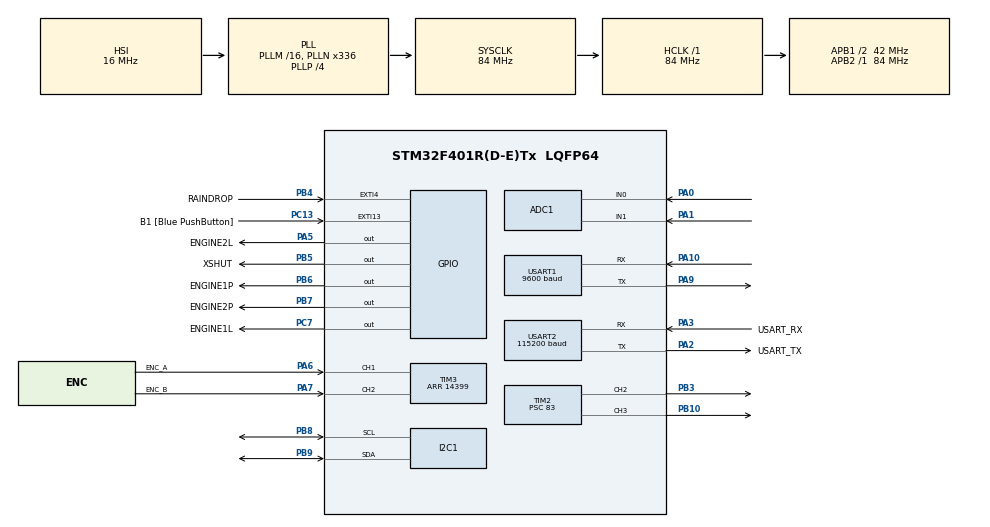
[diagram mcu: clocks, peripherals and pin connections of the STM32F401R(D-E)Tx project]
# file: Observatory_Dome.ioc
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ADC1.Channel-4\#ChannelRegularConversion=ADC_CHANNEL_0
ADC1.Channel-5\#ChannelRegularConversion=ADC_CHANNEL_1
ADC1.ContinuousConvMode=ENABLE
ADC1.DMAContinuousRequests=ENABLE
ADC1.EOCSelection=ADC_EOC_SEQ_CONV
ADC1.InjNumberOfConversion=0
ADC1.NbrOfConversion=2
ADC1.NbrOfConversionFlag=1
ADC1.Rank-4\#ChannelRegularConversion=1
ADC1.Rank-5\#ChannelRegularConversion=2
ADC1.SamplingTime-4\#ChannelRegularConversion=ADC_SAMPLETIME_84CYCLES
ADC1.SamplingTime-5\#ChannelRegularConversion=ADC_SAMPLETIME_84CYCLES
ADC1.master=1
Dma.ADC1.0.Direction=DMA_PERIPH_TO_MEMORY
Dma.ADC1.0.FIFOMode=DMA_FIFOMODE_DISABLE
Dma.ADC1.0.Instance=DMA2_Stream0
Dma.ADC1.0.MemDataAlignment=DMA_MDATAALIGN_HALFWORD
Dma.ADC1.0.MemInc=DMA_MINC_ENABLE
Dma.ADC1.0.Mode=DMA_CIRCULAR
Dma.ADC1.0.PeriphDataAlignment=DMA_PDATAALIGN_HALFWORD
Dma.ADC1.0.PeriphInc=DMA_PINC_DISABLE
Dma.ADC1.0.Priority=DMA_PRIORITY_MEDIUM
Dma.I2C1_RX.3.Direction=DMA_PERIPH_TO_MEMORY
Dma.I2C1_RX.3.FIFOMode=DMA_FIFOMODE_DISABLE
Dma.I2C1_RX.3.Instance=DMA1_Stream0
Dma.I2C1_RX.3.MemDataAlignment=DMA_MDATAALIGN_BYTE
Dma.I2C1_RX.3.MemInc=DMA_MINC_ENABLE
Dma.I2C1_RX.3.Mode=DMA_NORMAL
Dma.I2C1_RX.3.PeriphDataAlignment=DMA_PDATAALIGN_BYTE
Dma.I2C1_RX.3.PeriphInc=DMA_PINC_DISABLE
Dma.I2C1_RX.3.Priority=DMA_PRIORITY_LOW
Dma.I2C1_TX.2.Direction=DMA_MEMORY_TO_PERIPH
Dma.I2C1_TX.2.FIFOMode=DMA_FIFOMODE_DISABLE
Dma.I2C1_TX.2.Instance=DMA1_Stream7
Dma.I2C1_TX.2.MemDataAlignment=DMA_MDATAALIGN_BYTE
Dma.I2C1_TX.2.MemInc=DMA_MINC_ENABLE
Dma.I2C1_TX.2.Mode=DMA_NORMAL
Dma.I2C1_TX.2.PeriphDataAlignment=DMA_PDATAALIGN_BYTE
Dma.I2C1_TX.2.PeriphInc=DMA_PINC_DISABLE
Dma.I2C1_TX.2.Priority=DMA_PRIORITY_LOW
Dma.Request0=ADC1
Dma.Request1=USART1_TX
Dma.Request2=I2C1_TX
Dma.Request3=I2C1_RX
Dma.Request4=USART2_TX
Dma.USART1_TX.1.Direction=DMA_MEMORY_TO_PERIPH
Dma.USART1_TX.1.FIFOMode=DMA_FIFOMODE_DISABLE
Dma.USART1_TX.1.Instance=DMA2_Stream7
Dma.USART1_TX.1.MemDataAlignment=DMA_MDATAALIGN_BYTE
Dma.USART1_TX.1.MemInc=DMA_MINC_ENABLE
Dma.USART1_TX.1.Mode=DMA_NORMAL
Dma.USART1_TX.1.PeriphDataAlignment=DMA_PDATAALIGN_BYTE
Dma.USART1_TX.1.PeriphInc=DMA_PINC_DISABLE
Dma.USART1_TX.1.Priority=DMA_PRIORITY_HIGH
Dma.USART2_TX.4.Direction=DMA_MEMORY_TO_PERIPH
Dma.USART2_TX.4.FIFOMode=DMA_FIFOMODE_DISABLE
Dma.USART2_TX.4.Instance=DMA1_Stream6
Dma.USART2_TX.4.MemDataAlignment=DMA_MDATAALIGN_BYTE
Dma.USART2_TX.4.MemInc=DMA_MINC_ENABLE
Dma.USART2_TX.4.Mode=DMA_NORMAL
Dma.USART2_TX.4.PeriphDataAlignment=DMA_PDATAALIGN_BYTE
Dma.USART2_TX.4.PeriphInc=DMA_PINC_DISABLE
Dma.USART2_TX.4.Priority=DMA_PRIORITY_MEDIUM
I2C1.I2C_Mode=I2C_Fast
Mcu.Family=STM32F4
Mcu.Name=STM32F401R(D-E)Tx
Mcu.Package=LQFP64
NVIC.DMA1_Stream0_IRQn=true\:0\:0\:false\:false\:true\:false\:true\:true
NVIC.DMA1_Stream6_IRQn=true\:0\:0\:false\:false\:true\:false\:true\:true
NVIC.DMA1_Stream7_IRQn=true\:0\:0\:false\:false\:true\:false\:true\:true
NVIC.DMA2_Stream0_IRQn=true\:0\:0\:false\:false\:true\:false\:true\:true
NVIC.DMA2_Stream7_IRQn=true\:0\:0\:false\:false\:true\:false\:true\:true
NVIC.EXTI15_10_IRQn=true\:0\:0\:false\:false\:true\:true\:true\:true
NVIC.EXTI4_IRQn=true\:0\:0\:false\:false\:true\:true\:true\:true
NVIC.PriorityGroup=NVIC_PRIORITYGROUP_0
NVIC.USART1_IRQn=true\:0\:0\:false\:false\:true\:true\:true\:true
NVIC.USART2_IRQn=true\:0\:0\:false\:false\:true\:true\:true\:true
PA0-WKUP.Signal=ADCx_IN0
PA1.Signal=ADCx_IN1
PA10.Mode=Asynchronous
PA10.Signal=USART1_RX
PA13.GPIO_Label=TMS
PA13.Mode=Serial_Wire
PA13.Signal=SYS_JTMS-SWDIO
PA14.GPIO_Label=TCK
PA14.Mode=Serial_Wire
PA14.Signal=SYS_JTCK-SWCLK
PA2.GPIO_Label=USART_TX
PA2.GPIO_Mode=GPIO_MODE_AF_PP
PA2.GPIO_PuPd=GPIO_NOPULL
PA2.GPIO_Speed=GPIO_SPEED_FREQ_LOW
PA2.Mode=Asynchronous
PA2.Signal=USART2_TX
PA3.GPIO_Label=USART_RX
PA3.GPIO_Mode=GPIO_MODE_AF_PP
PA3.GPIO_PuPd=GPIO_NOPULL
PA3.GPIO_Speed=GPIO_SPEED_FREQ_LOW
PA3.Mode=Asynchronous
PA3.Signal=USART2_RX
PA5.GPIO_Label=ENGINE2L
PA5.Signal=GPIO_Output
PA6.GPIO_Label=ENC_A
PA6.Signal=S_TIM3_CH1
PA7.GPIO_Label=ENC_B
PA7.Signal=S_TIM3_CH2
PA9.Mode=Asynchronous
PA9.Signal=USART1_TX
PB10.Signal=S_TIM2_CH3
PB3.Signal=S_TIM2_CH2
PB4.GPIO_Label=RAINDROP
PB4.GPIO_ModeDefaultEXTI=GPIO_MODE_IT_FALLING
PB4.Signal=GPXTI4
PB5.GPIO_Label=XSHUT
PB5.Signal=GPIO_Output
PB6.GPIO_Label=ENGINE1P
PB6.Signal=GPIO_Output
PB7.GPIO_Label=ENGINE2P
PB7.Signal=GPIO_Output
PB8.Mode=I2C
PB8.Signal=I2C1_SCL
PB9.Mode=I2C
PB9.Signal=I2C1_SDA
PC13-ANTI_TAMP.GPIO_Label=B1 [Blue PushButton]
PC13-ANTI_TAMP.GPIO_ModeDefaultEXTI=GPIO_MODE_IT_FALLING
PC13-ANTI_TAMP.GPIO_PuPd=GPIO_NOPULL
PC13-ANTI_TAMP.Signal=GPXTI13
PC14-OSC32_IN.Mode=LSE-External-Oscillator
PC14-OSC32_IN.Signal=RCC_OSC32_IN
PC15-OSC32_OUT.Mode=LSE-External-Oscillator
PC15-OSC32_OUT.Signal=RCC_OSC32_OUT
PC7.GPIO_Label=ENGINE1L
PC7.Signal=GPIO_Output
PH0\ -\ OSC_IN.Mode=HSE-External-Clock-Source
PH0\ -\ OSC_IN.Signal=RCC_OSC_IN
PH1\ -\ OSC_OUT.Mode=HSE-External-Clock-Source
PH1\ -\ OSC_OUT.Signal=RCC_OSC_OUT
ProjectManager.HeapSize=0x200
ProjectManager.StackSize=0x400
ProjectManager.TargetToolchain=STM32CubeIDE
RCC.48MHZClocksFreq_Value=48000000
RCC.AHBFreq_Value=84000000
RCC.APB1CLKDivider=RCC_HCLK_DIV2
RCC.APB1Freq_Value=42000000
RCC.APB1TimFreq_Value=84000000
RCC.APB2Freq_Value=84000000
RCC.APB2TimFreq_Value=84000000
RCC.CortexFreq_Value=84000000
RCC.HCLKFreq_Value=84000000
RCC.HSE_VALUE=8000000
RCC.HSI_VALUE=16000000
RCC.PLLN=336
RCC.PLLP=RCC_PLLP_DIV4
RCC.PLLQ=7
RCC.SYSCLKFreq_VALUE=84000000
RCC.SYSCLKSource=RCC_SYSCLKSOURCE_PLLCLK
RCC.VCOOutputFreq_Value=336000000
SH.ADCx_IN0.0=ADC1_IN0,IN0
SH.ADCx_IN1.0=ADC1_IN1,IN1
SH.S_TIM2_CH2.0=TIM2_CH2,PWM Generation2 CH2
SH.S_TIM2_CH3.0=TIM2_CH3,PWM Generation3 CH3
SH.S_TIM3_CH1.0=TIM3_CH1,Encoder_Interface
SH.S_TIM3_CH2.0=TIM3_CH2,Encoder_Interface
TIM2.Channel-PWM\ Generation2\ CH2=TIM_CHANNEL_2
TIM2.Channel-PWM\ Generation3\ CH3=TIM_CHANNEL_3
TIM2.Period=99
TIM2.Prescaler=83
TIM2.Pulse-PWM\ Generation2\ CH2=42
TIM2.Pulse-PWM\ Generation3\ CH3=42
TIM3.EncoderMode=TIM_ENCODERMODE_TI12
TIM3.IC1Filter=15
TIM3.IC2Filter=15
TIM3.Period=14399
USART1.BaudRate=9600
USART1.VirtualMode=VM_ASYNC
USART2.BaudRate=115200
USART2.VirtualMode=VM_ASYNC
board=NUCLEO-F401RE

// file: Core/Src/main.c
/* USER CODE BEGIN Header */
/**
  ******************************************************************************
  * @file           : main.c
  * @brief          : Main program body
  ******************************************************************************
  * @attention
  *
  * Copyright (c) 2026 STMicroelectronics.
  * All rights reserved.
  *
  * This software is licensed under terms that can be found in the LICENSE file
  * in the root directory of this software component.
  * If no LICENSE file comes with this software, it is provided AS-IS.
  *
  ******************************************************************************
  */
/* USER CODE END Header */
#include "main.h"
#include "adc.h"
#include "dma.h"
#include "i2c.h"
#include "tim.h"
#include "usart.h"
#include "gpio.h"

/* USER CODE BEGIN Includes */
#include <stdlib.h>
#include <stdio.h>
#include <nextion.h>
#include <encoder.h>
#include <vl53l0x_api.h>
#include <vl53l0x_platform.h>
/* USER CODE END Includes */

/* USER CODE BEGIN PTD */
typedef enum {
	TOF_IDLE,
	TOF_TRIGGER_MEASURE,
	TOF_WAIT_FOR_DATA,
	TOF_GET_RESULT
} ToF_State_t;

typedef enum {
	DIR_NONE = 0,
	DIR_OPEN,
	DIR_CLOSE,
	DIR_LEFT,
	DIR_RIGHT
} MotorState;

typedef union {
	float float_val;
	uint32_t uint32_t_val;
	uint8_t bytes[4];
} ByteConverter;
/* USER CODE END PTD */

/* USER CODE BEGIN PD */
#define ASCOM_Buffer 20

#define RAIN_STATE_NONE          0
#define RAIN_STATE_GO_HOME       1
#define RAIN_STATE_STOP_HOME     2
#define RAIN_STATE_CLOSE_SHUTTER 3
#define RAIN_STATE_STOP_SHUTTER  4
#define RAIN_STATE_RESUME_DRIVE  5
#define RAIN_STATE_FINISHED      6
/* USER CODE END PD */

/* USER CODE BEGIN PV */

// user test values

uint8_t label_is_home = 0; // 0 - Preset, 1 - Angle.
uint8_t i,j,k,l = 0; // Zabezpieczenie ponownego załączenia obrotów
uint8_t i2c_transmit_flag = 0;
uint8_t angle_conversion_flag = 0;
uint8_t ride_left_flag = 0;
uint8_t ride_right_flag = 0;
uint8_t ride_open_flag = 0;
uint8_t ride_close_flag = 0;
volatile uint8_t abort_slew_flag = 0;
volatile uint8_t nextion_rain_on = 0;
volatile uint8_t nextion_rain_off = 0;
volatile uint8_t is_home = 0;
volatile uint8_t is_calibrated = 0; // 0 - wymaga bazowania, 1 - gotowy do pracy

uint8_t pwm_run_1 = 0;
uint8_t pwm_run_2 = 0;
uint8_t soft_start_automatic = 0;
//uint8_t soft_start = 0;
// Zamiast: uint8_t soft_start = 0;
uint8_t soft_start_rot = 0;     // Miękki start dla Silnika 2 (Obrót)
uint8_t soft_start_shutter = 0; // Miękki start dla Silnika 1 (Szczelina)
uint8_t soft_stop = 0;

uint8_t amp_waveform = 0;
uint8_t amp_waveform_1 = 0;

// Sekcja komunikacji dwustronnej ASCOM - PC

uint8_t ASCOM_rx_buffer[8]; // Bufor na rozkaz z PC + suma kontrolna (8 bajtów)
uint8_t ASCOM_tx_buffer[13]; // Bufor na odpowiedź ze statusem + suma kontrolna (12 bajtów)

uint8_t current_shutter_state = 1; // // 0=Open, 1=Closed, 2=Opening, 3=Closing, 4=Error
uint8_t is_slewing = 0;           // Flaga ruchu obrotowego kopuły
uint8_t rain_alert = 0;           // Flaga alarmu pogodowego

volatile uint8_t ASCOM_frame_ready = 0;

uint8_t Rx_Data[4];
uint8_t ASCOM_Data[ASCOM_Buffer];
uint8_t ASCOM_Index = 0;
uint8_t ASCOM_Byte = 0;
uint16_t UART_value = 0;

volatile uint8_t open = 0;
volatile uint8_t close = 0;
volatile uint8_t left = 0;
volatile uint8_t right = 0;

volatile uint8_t raindrop_signal = 0;
volatile uint8_t waveform_enable = 0;
volatile uint8_t page_auto = 0;
volatile uint8_t page_manual = 0;

uint32_t tick_start_1 = 0, tick_stop_1 = 0;
uint32_t ToF_Tick = 0;
uint32_t ToF_delay_time = 0;
uint32_t wave_delay_time_0 = 0;
uint32_t wave_delay_time_1 = 0;
uint32_t preset_delay_time = 0;
uint16_t counter = 0;

uint16_t pwm_signal_1 = 0;
uint16_t pwm_signal_2 = 0;
volatile uint8_t pwm_value_1 = 0;
volatile uint8_t pwm_value_2 = 0;

uint16_t current_engine_value[2];

float target_angle = 0.0f;
float string_to_angle = 0;
float filtered_value_0 = 2160;
float filtered_value_1 = 2160;
float angle_to_display = 0;
float preset_to_display = 0;
float distance_to_display = 0;
float amps_0 = 0;
float amps_1 = 0;

int16_t half = 180.0;
int16_t amps_to_display_0 = 0;
int16_t amps_to_display_1 = 0;

uint16_t tof_distance_mm = 0;

uint8_t comparision_mode = 1;
volatile uint8_t print_home = 0;
/* USER CODE END PV */

void SystemClock_Config(void);
/* USER CODE BEGIN PFP */
uint16_t encoder_cnt_get();
float encoder_angle_get(uint16_t positioning);
float get_current_offset(uint16_t dma_adc_index, float offset);
float get_amps(float filter_value);
float encoder_ASCOM_preset(float angle_position);
void encoder_display_angle(uint16_t position);
void Nextion_SendText(char *ID, char *string);
void Nextion_SendString(char *ID, float info);
void Nextion_SendString_Rain(char *text_ID, char *info);
void Nextion_Waveform(uint8_t wave1, uint8_t wave2);
void Nextion_SendString_Current(int16_t current1, int16_t current2);
void soft_start_func(volatile uint8_t *pwm, uint8_t channel, uint32_t *tick);
void soft_stop_func(volatile uint8_t *pwm, volatile uint8_t *pwm2, uint32_t *tick);
void soft_stop_func_alternate(volatile uint8_t *pwm, uint8_t channel, uint32_t *tick);
void ride_left(void);
void ride_right(void);
void ride_open(void);
void ride_close(void);
void dont_ride(void);
void dont_ride_shutter(void);
void dont_ride_rot(void);
void i2c_check(void);
/* USER CODE END PFP */

/* USER CODE BEGIN 0 */
MotorState CurrentDir = DIR_NONE;

VL53L0X_RangingMeasurementData_t RangingData;
VL53L0X_Dev_t mySensor;
VL53L0X_DEV pDev = &mySensor;

void tof_sensor_init(VL53L0X_DEV Dev)
{
	  uint32_t refSpadCount;
	  uint8_t isApertureSpads;
	  uint8_t VhvSettings;
	  uint8_t PhaseCal;

	  VL53L0X_Error status = VL53L0X_DataInit(Dev);

	  if(status == VL53L0X_ERROR_NONE) {
		 status = VL53L0X_StaticInit(Dev);
	  }
	  if(status == VL53L0X_ERROR_NONE) {
		 status = VL53L0X_PerformRefSpadManagement(Dev, &refSpadCount, &isApertureSpads);
	  }
	  if(status == VL53L0X_ERROR_NONE) {
		 status = VL53L0X_PerformRefCalibration(Dev, &VhvSettings, &PhaseCal);
	  }
	  if(status == VL53L0X_ERROR_NONE) {
		 status = VL53L0X_SetDeviceMode(Dev, VL53L0X_DEVICEMODE_SINGLE_RANGING);
	  }
	  if(status == VL53L0X_ERROR_NONE) {
		 status = VL53L0X_SetMeasurementTimingBudgetMicroSeconds(Dev, 33000);
	  }
	  if(status == VL53L0X_ERROR_NONE) {
		 status = VL53L0X_SetLimitCheckEnable(Dev, VL53L0X_CHECKENABLE_SIGMA_FINAL_RANGE, 1);
	  }
	  if(status == VL53L0X_ERROR_NONE) {
		 status = VL53L0X_SetLimitCheckEnable(Dev, VL53L0X_CHECKENABLE_SIGNAL_RATE_FINAL_RANGE, 1);
	  }
	  if(status == VL53L0X_ERROR_NONE) {
		  status = VL53L0X_SetLimitCheckValue(Dev, VL53L0X_CHECKENABLE_SIGNAL_RATE_FINAL_RANGE,(FixPoint1616_t)(0.1*65536));
	  }
	  if (status == VL53L0X_ERROR_NONE) {
		  status = VL53L0X_SetLimitCheckValue(Dev, VL53L0X_CHECKENABLE_SIGMA_FINAL_RANGE, (FixPoint1616_t)(60*65536));
	  }
	  if (status == VL53L0X_ERROR_NONE) {
		  status = VL53L0X_SetVcselPulsePeriod(Dev, VL53L0X_VCSEL_PERIOD_PRE_RANGE, 18);
	  }
	  if (status == VL53L0X_ERROR_NONE) {
		  status = VL53L0X_SetVcselPulsePeriod(Dev, VL53L0X_VCSEL_PERIOD_FINAL_RANGE, 14);
	  }
}

uint16_t tof_data_request(void)
{
	uint16_t distance;
	VL53L0X_Error status = VL53L0X_PerformSingleRangingMeasurement(pDev, &RangingData);

	if(status == VL53L0X_ERROR_NONE){
		distance = RangingData.RangeMilliMeter;
	}

	return distance;
}

uint16_t tof_data_request_nonblocking_mode(void)
{
	static ToF_State_t state = TOF_TRIGGER_MEASURE;
	static uint32_t lastTick = 0;
	static uint16_t distance = 0;

	if(HAL_GetTick() - lastTick >= 25) {
		switch(state) {
			case TOF_TRIGGER_MEASURE:
				if(VL53L0X_PerformSingleMeasurement(pDev) == VL53L0X_ERROR_NONE) {
					state = TOF_WAIT_FOR_DATA;
					//lastTick = HAL_GetTick();
				}
			break;

			case TOF_WAIT_FOR_DATA:
					uint8_t DataReady = 0;

					VL53L0X_GetMeasurementDataReady(pDev, &DataReady);

					if(DataReady){
						state = TOF_GET_RESULT;
					}
			break;

			case TOF_GET_RESULT:

				if(VL53L0X_GetRangingMeasurementData(pDev, &RangingData) == VL53L0X_ERROR_NONE) {
					distance = RangingData.RangeMilliMeter;
				}
				VL53L0X_ClearInterruptMask(pDev, 0);

				state = TOF_TRIGGER_MEASURE;
			break;
		}

		lastTick = HAL_GetTick();
	}

	return distance;
}

uint8_t Sum_Control(uint8_t *data, uint8_t len)
{
	uint8_t xor_val = 0;

	for(uint8_t i = 0; i < len; i++)
	{
		xor_val ^= data[i]; // XOR
	}

	return xor_val;
}

void ASCOM_SendStatus(void)
{
	uint32_t tx_timeout = HAL_GetTick();

	while(huart2.gState == HAL_UART_STATE_BUSY_TX)
	{
		if(HAL_GetTick() - tx_timeout > 3) {
			return; // Jeśli port jest zajęty za długo, porzucamy wysyłkę
		}
	}

	ByteConverter az_conv;
	uint8_t motor_flags = 0;

	// Zabezpieczenie danych
	az_conv.float_val = (float)(angle_to_display/10.0);

	// Maska bitowa statusu motor_flags
	if(is_slewing)
		motor_flags |= 0x01; // Bit 0 (kopula obraca sie)
	if(rain_alert)
		motor_flags |= 0x02; // Bit 1 (Deszcz trwa)
	if(angle_to_display == 0.0f && is_calibrated)
		motor_flags |= 0x04; // Bit 2 Kopuła jest w pozycji Home
	if(is_calibrated)
		motor_flags |= 0x08; // Bit 3 Kopuła została zbazowana sprzętowo do Home

	// Konstrukcja stałej długości ramki danych
	ASCOM_tx_buffer[0] = 0x23; // Znak początku #

	// Rzutowanie danych Azimuth
	ASCOM_tx_buffer[1] = az_conv.bytes[0];
	ASCOM_tx_buffer[2] = az_conv.bytes[1];
	ASCOM_tx_buffer[3] = az_conv.bytes[2];
	ASCOM_tx_buffer[4] = az_conv.bytes[3];

	ASCOM_tx_buffer[5] = current_shutter_state;

	// Pakowanie dystansu ToF (16-bitowa)

	ASCOM_tx_buffer[6] = (uint8_t)(tof_distance_mm & 0xFF); // LSB
	ASCOM_tx_buffer[7] = (uint8_t)(tof_distance_mm >> 8 & 0xFF); // MSB
	ASCOM_tx_buffer[8] = 0x00;
	ASCOM_tx_buffer[9] = 0x00;

	ASCOM_tx_buffer[10] = motor_flags; // Bajt flag kontrolnych otwierania/zamykania klapy

	ASCOM_tx_buffer[11] = Sum_Control(&ASCOM_tx_buffer[1], 10); // Suma kontrolna

	ASCOM_tx_buffer[12] = 0x24;

	HAL_UART_Transmit_DMA(&huart2, ASCOM_tx_buffer, 13);
}

void ASCOM_ParseCommand(void)
{
	// Weryfikacja ramki, sprawdzenie czy przyszlo : oraz $
	if(ASCOM_rx_buffer[0] == 0x3A && ASCOM_rx_buffer[7] == 0x24)
	{
		uint8_t cmd_code = 0;
		uint8_t received_crc = ASCOM_rx_buffer[6];
		ByteConverter target_az;
		uint8_t check_crc = Sum_Control(&ASCOM_rx_buffer[1], 5);

		if(check_crc == received_crc) {
			// Bezpośrednie zmapowanie 4 bajtów danych z bufora na wartość float (Azimuth) + przypisanie rozkazu cmd_code
			cmd_code = ASCOM_rx_buffer[1];
			target_az.bytes[0] = ASCOM_rx_buffer[2];
			target_az.bytes[1] = ASCOM_rx_buffer[3];
			target_az.bytes[2] = ASCOM_rx_buffer[4];
			target_az.bytes[3] = ASCOM_rx_buffer[5];
		} else {
			return;
		}

		// System bezpieczenstwa
		if (rain_alert && (cmd_code == 1 || cmd_code == 2 || cmd_code == 4)) {
			ASCOM_SendStatus();
			return;
		}

		// W przypadku braku kalibracji
		if(!is_calibrated && (cmd_code == 2 || cmd_code == 3 || cmd_code == 4)) {
			ASCOM_SendStatus();
			return;
		}

		switch(cmd_code)
		{
			case 1: // FIND HOME
				target_angle = 0.0f;
				// page_auto = 1;
				is_slewing = 1;
				print_home = 1;
			break;

			case 2: // SLEW
				if(target_az.float_val >= 0.0f && target_az.float_val < 360.0f) {
					target_angle = (target_az.float_val*10);
					// page_auto = 1;
					is_slewing = 1;
				}
			break;

			case 3: // CLOSE SHUTTER
				if(current_shutter_state != 1 && current_shutter_state != 3)
				{
					current_shutter_state = 3;
					target_angle = 0.0f;
					// page_auto = 1;

				}
			break;

			case 4: // OPEN SHUTTER
				if(current_shutter_state != 0 && current_shutter_state != 2)
				{
					current_shutter_state = 2;
					target_angle = 0.0f;
					// page_auto = 1;
				}
			break;

			case 5: // GET STATUS

			break;

			case 6: // ZATRZYMANIE AWARYJNE (Abort Slew / N.I.N.A. Stop)
				abort_slew_flag = 1;
			break;

			default:
			break;
		}

		ASCOM_SendStatus();
	}
}
/* USER CODE END 0 */

int main(void)
{

  /* USER CODE BEGIN 1 */
  pDev->I2CHandle = &hi2c1;
  pDev->I2cDevAddr = 0x52; //Adres czujnika ToF
  pDev->comms_type = 1;
  pDev->comms_speed_khz = 400;
  /* USER CODE END 1 */

  /* MCU Configuration--------------------------------------------------------*/

  /* Reset of all peripherals, Initializes the Flash interface and the Systick. */
  HAL_Init();

  /* Configure the system clock */
  SystemClock_Config();

  /* Initialize all configured peripherals */
  MX_GPIO_Init();
  MX_DMA_Init();
  MX_USART2_UART_Init();
  MX_TIM3_Init();
  MX_USART1_UART_Init();
  MX_TIM2_Init();
  MX_ADC1_Init();
  MX_I2C1_Init();
  /* USER CODE BEGIN 2 */

  // Sprzętowy reset czujnika ToF
  HAL_GPIO_WritePin(GPIOB, XSHUT_Pin, GPIO_PIN_RESET);
  HAL_Delay(20);
  HAL_GPIO_WritePin(GPIOB, XSHUT_Pin, GPIO_PIN_SET);
  HAL_Delay(20);

  tof_sensor_init(pDev);
  //i2c_check();

  HAL_TIM_Encoder_Start(&htim3, TIM_CHANNEL_ALL);
  HAL_UART_Receive_IT(&huart1, Rx_Data, 4);
  //HAL_UART_Receive_IT(&huart2, &ASCOM_Byte, 1);
  HAL_UART_Receive_IT(&huart2, &ASCOM_Byte, 1);
  HAL_ADC_Start_DMA(&hadc1, (uint32_t*)current_engine_value, 2);
  HAL_TIM_PWM_Start(&htim2, TIM_CHANNEL_2);
  HAL_TIM_PWM_Start(&htim2, TIM_CHANNEL_3);
  /* USER CODE END 2 */

  /* Infinite loop */
  while (1)
  {

    /* USER CODE BEGIN 3 */

	if(ASCOM_frame_ready) {
		ASCOM_frame_ready = 0;

		ASCOM_ParseCommand(); // Wywołaj przetworzenie - ramka jest prawidłowa!

		ASCOM_rx_buffer[0] = 0x00;
		ASCOM_rx_buffer[7] = 0x00;
	}

	if(HAL_GetTick() - ToF_delay_time >= 30)
	{
		tof_distance_mm = tof_data_request_nonblocking_mode();
		ToF_delay_time = HAL_GetTick();
	}

	//tof_distance_mm = tof_data_request_nonblocking_mode();
	distance_to_display = (float)(tof_distance_mm*10);

	static uint8_t reset_pwm = 0;
	static uint8_t rain_string = 0;
	static uint8_t timer_reset = 0;

	// --- ZMIENNE MASZYNY STANÓW AUTO ---
	static uint8_t start_automation = 0;
	static uint8_t automation_active = 0;
	static uint8_t nextion_off = 0;
	static uint32_t auto_delay_tick = 0;
	static uint8_t rain_state = RAIN_STATE_NONE;

	// ==========================================================================
	// SPRZĘTOWA KALIBRACJA (HOMING / SENSOR RESET)
	// ==========================================================================
	if (is_home) {
	    // 1. Sprzętowe wyzerowanie rejestru CNT dla Timera 3 (odpowiedzialnego za enkoder)
	    __HAL_TIM_SET_COUNTER(&htim3, 0);

	    // 2. Natychmiastowe wyzerowanie lokalnych zmiennych procesowych
	    counter = 0;
	    angle_to_display = 0.0; // Wymuszenie idealnego zera fizycznego

	    // 3. Kalibracja
	    is_calibrated = 1;

	    if(is_slewing) {
	    	is_slewing = 0;
	    	comparision_mode = 1;
	    }

	    // 4. Skasowanie flagi, informując system, że kalibracja została zakończona
	    is_home = 0;
	} else {
	    // Standardowy, ciągły odczyt enkodera, gdy czujnik Home nie jest zwarty
	    counter = encoder_cnt_get();
	    angle_to_display = encoder_angle_get(counter);
	}

	// ==========================================================================
	// STOP ASCOM button
	// ==========================================================================
	if (abort_slew_flag) {
	    // 1. Twarde odcięcie sprzętowe
	    dont_ride();
	    __HAL_TIM_SET_COMPARE(&htim2, TIM_CHANNEL_2, 42); // PWM jałowe dla szczeliny
	    __HAL_TIM_SET_COMPARE(&htim2, TIM_CHANNEL_3, 42); // PWM jałowe dla obrotu
	    pwm_value_1 = 0;
	    pwm_value_2 = 0;

	    // 2. Czyszczenie flag ruchu
	    open = 0; close = 0; left = 0; right = 0;
	    ride_left_flag = 0; ride_right_flag = 0;
	    ride_open_flag = 0; ride_close_flag = 0;

	    // 3. Synchronizacja celu - KLUCZOWE!
	    // Oszukujemy maszynę stanów, że jesteśmy u celu, żeby nie wznowiła jazdy
	    target_angle = angle_to_display;
	    preset_to_display = angle_to_display;
	    comparision_mode = 1;
	    is_slewing = 0;

	    // 4. Resetowanie logiki napędu
	    CurrentDir = DIR_NONE;
	    // Zamiast: uint8_t soft_start = 0;
	    soft_start_rot = 0;
	    soft_start_shutter = 0;
	    soft_stop = 0;
	    pwm_run_1 = 0;
	    pwm_run_2 = 0;

	    // 5. Zatrzymanie szczeliny z uwzględnieniem RZECZYWISTEJ pozycji ToF
		if (current_shutter_state == 2 || current_shutter_state == 3) {
			if (tof_distance_mm <= 50.0) {
				current_shutter_state = 1; // W pełni zamknięta
			} else if (tof_distance_mm >= 200.0) {
				current_shutter_state = 0; // W pełni otwarta
			} else {
				// Zatrzymana w połowie drogi (np. ToF = 100mm)
				// Stan 4 w ASCOM to 'shutterError'
				current_shutter_state = 4;
			}
		}
	    // Zatrzymanie awaryjne skonsumowane
	    abort_slew_flag = 0;
	}

	if(page_manual && !page_auto){

		static uint8_t dont_ride_flag = 0;
		static uint8_t string_queue = 0;

		reset_pwm = 0;

		if(huart1.gState == HAL_UART_STATE_READY) {

			if(HAL_GetTick() - wave_delay_time_0 > 15) {
				wave_delay_time_0 = HAL_GetTick();

				switch(string_queue) {
					case 0:
						Nextion_SendString("x3", angle_to_display);
						string_queue++;
					break;

					case 1:
						Nextion_SendString("x4", distance_to_display);
						string_queue = 0;
					break;
				}
			}
		}

		if(open){
			if(CurrentDir== DIR_OPEN) {
			        // DRUGIE KLIKNIECIE: Silnik jedzie w tym samym kierunku, więc go zatrzymujemy
			        soft_stop = 1;
					soft_start_rot = 0;
					soft_start_shutter = 0;
			        CurrentDir = DIR_NONE; // Ważne: zmieniamy stan na NONE, żeby system wiedział, że dążymy do stopu
			        open = 0;               // "Konsumujemy" flagę
			} else {
				// PIERWSZE KLIKNIECIE (lub zmiana z innego kierunku):
				if(pwm_value_1 == 0 && pwm_value_2 == 0 && soft_stop == 0){
					ride_open();
					CurrentDir = DIR_OPEN;
					pwm_run_1 = 1;
					pwm_run_2 = 0;
					soft_start_rot = 1;
					soft_start_shutter = 1;
					open = 0;
				} else {
					soft_stop = 1;
					soft_start_rot = 0;
					soft_start_shutter = 0;
				}
			}

		}

		if(close){
			if(CurrentDir == DIR_CLOSE) {
			        soft_stop = 1;
					soft_start_rot = 0;
					soft_start_shutter = 0;
			        CurrentDir = DIR_NONE;
			        close = 0;               // "Konsumujemy" flagę
			} else {
				if(pwm_value_1 == 0 && pwm_value_2 == 0 && soft_stop == 0){
					ride_close();
					CurrentDir = DIR_CLOSE;
					pwm_run_1 = 1;
					pwm_run_2 = 0;
					soft_start_rot = 1;
					soft_start_shutter = 1;
					close = 0;
				} else {
					soft_stop = 1;
					soft_start_rot = 0;
					soft_start_shutter = 0;
				}
			}
		}

		if(left){
			if(CurrentDir == DIR_LEFT) {
			        soft_stop = 1;
					soft_start_rot = 0;
					soft_start_shutter = 0;
			        CurrentDir = DIR_NONE;
			        left = 0;               // "Konsumujemy" flagę
			} else {
				if(pwm_value_1 == 0 && pwm_value_2 == 0 && soft_stop == 0){
					ride_left();
					CurrentDir = DIR_LEFT;
					pwm_run_1 = 0;
					pwm_run_2 = 1;
					soft_start_rot = 1;
					soft_start_shutter = 1;
					left = 0;
				} else {
					soft_stop = 1;
					soft_start_rot = 0;
					soft_start_shutter = 0;
				}
			}
		}

		if(right){
			if(CurrentDir == DIR_RIGHT) {
			        soft_stop = 1;
					soft_start_rot = 0;
					soft_start_shutter = 0;
			        CurrentDir = DIR_NONE;
			        right = 0;               // "Konsumujemy" flagę
			} else {
				if(pwm_value_1 == 0 && pwm_value_2 == 0 && soft_stop == 0){
					ride_right();
					CurrentDir = DIR_RIGHT;
					pwm_run_1 = 0;
					pwm_run_2 = 1;
					soft_start_rot = 1;
					soft_start_shutter = 1;
					right = 0;
				} else {
					soft_stop = 1;
					soft_start_rot = 0;
					soft_start_shutter = 0;
				}
			}
		}

		if(soft_start_rot || soft_start_shutter){

			if(pwm_run_1)
				soft_start_func(&pwm_value_1, 0, &tick_start_1);

			if(pwm_run_2)
				soft_start_func(&pwm_value_2, 1, &tick_start_1);

			if(pwm_value_1 >= 65 || pwm_value_2 >= 65) { // Silnik musi się rozpedzić
				soft_start_rot = 0;
				soft_start_shutter = 0;
			}
		}

		if(soft_stop){

			if(!dont_ride_flag) {
				dont_ride();
				dont_ride_flag = 1;
			}

			//soft_stop_func(&pwm_value_1, &pwm_value_2, &tick_stop_1);
			if(pwm_run_1)
				soft_stop_func_alternate(&pwm_value_1, 0, &tick_stop_1);

			if(pwm_run_2)
				soft_stop_func_alternate(&pwm_value_2, 1, &tick_stop_1);

			if(pwm_value_1 == 0 && pwm_value_2 == 0){
				soft_stop = 0;
				dont_ride_flag = 0;

				if(pwm_run_1)
					__HAL_TIM_SET_COMPARE(&htim2, TIM_CHANNEL_2, 42);

				if(pwm_run_2)
					__HAL_TIM_SET_COMPARE(&htim2, TIM_CHANNEL_3, 42);
				//dont_ride();

				if(open) {
					ride_open();
					CurrentDir = DIR_OPEN;
					pwm_run_1 = 1;
					pwm_run_2 = 0;
					soft_start_rot = 1;
					soft_start_shutter = 1;
					open = 0;
				}else if(close){
					ride_close();
					CurrentDir = DIR_CLOSE;
					pwm_run_1 = 1;
					pwm_run_2 = 0;
					soft_start_rot = 1;
					soft_start_shutter = 1;
					close = 0;
				}else if(left){
					ride_left();
					CurrentDir = DIR_LEFT;
					pwm_run_2 = 1;
					pwm_run_1 = 0;
					soft_start_rot = 1;
					soft_start_shutter = 1;
					left = 0;
				}else if(right){
					ride_right();
					CurrentDir = DIR_RIGHT;
					pwm_run_2 = 1;
					pwm_run_1 = 0;
					soft_start_rot = 1;
					soft_start_shutter = 1;
					right = 0;
				}else {
					CurrentDir = DIR_NONE;
					pwm_run_1 = 0;
					pwm_run_2 = 0;
					soft_start_rot = 0;
					soft_start_shutter = 0;
				}

			}
		}

	} else if(!page_manual && page_auto)   {
		// --- 1. SEKCJA NEXTIONA (Round-Robin) ---
		    static uint32_t nextion_update_tick = 0;
		    static uint8_t nextion_seq = 0;
		    float angle_Home = 0.0;

		    if (huart1.gState == HAL_UART_STATE_READY) {
		        if (!rain_string && !waveform_enable) {
		            Nextion_SendString_Rain("OFF", "RED");
		            rain_string = 1;
		        }
		        else if (nextion_rain_on) {
		            Nextion_SendString_Rain("ON", "GREEN");
		            nextion_rain_on = 0;
		        }
		        else if (nextion_rain_off) {
		            Nextion_SendString_Rain("OFF", "RED");
		            nextion_rain_off = 0;
		        }
		        else if ((current_shutter_state == 2 || current_shutter_state == 3 || rain_alert || print_home) && !label_is_home) {
		            Nextion_SendText("t1", "Home:"); // Pokazujemy Home w trakcie powrotu
		            print_home = 0;
		            label_is_home = 1;
		        }
		        else if (current_shutter_state <= 1 && !rain_alert && label_is_home && !is_slewing) {
		            Nextion_SendText("t1", "Preset:");
		            label_is_home = 0;
		        }
		        else if (HAL_GetTick() - nextion_update_tick > 15) {
		            nextion_update_tick = HAL_GetTick();
		            switch(nextion_seq) {
		                case 0: Nextion_SendString("x0", angle_to_display); nextion_seq++; break;
		                case 1:
		                    if(label_is_home) Nextion_SendString("x1", angle_Home);
		                    else Nextion_SendString("x1", target_angle);
		                    nextion_seq++; break;
		                case 2: Nextion_SendString("x2", distance_to_display); nextion_seq = 0; break;
		            }
		        }
		    }

		    // --- 2. DELAY AUTOMATYZACJI ---
		    if (HAL_GetTick() - auto_delay_tick > 2000) {
		        start_automation = 1;
		        automation_active = 1;
		        auto_delay_tick = HAL_GetTick();
		    }

		    // --- 3. WYKRYCIE DESZCZU (Hardware Override) ---
		    if (raindrop_signal && !rain_alert) {
		        rain_alert = 1;
		        nextion_rain_on = 1;
		        current_shutter_state = 3; // Wymuś status Closing
		        target_angle = angle_Home; // Wymuś powrót do 0.0
		        comparision_mode = 1;
		    }
		    else if (!raindrop_signal && rain_alert) {
		        rain_alert = 0;
		        nextion_rain_off = 1;
		    }

		    // --- 4. LOGIKA DOJAZDU (Silnik 2 - Obrót) ---

		    uint8_t force_homing = (!is_calibrated && is_slewing);

		    if (angle_to_display == target_angle && !force_homing) {
		        // JESTEŚMY U CELU OBROTOWEGO
		        if (pwm_value_2 > 0) {
		            soft_stop_func_alternate(&pwm_value_2, 1, &tick_stop_1);
		        } else {
		        	dont_ride_rot(); // <--- ZMIANA! Teraz gasi tylko silnik rotacji
		            __HAL_TIM_SET_COMPARE(&htim2, TIM_CHANNEL_3, 42);
		            ride_left_flag = 0;
		            ride_right_flag = 0;
		    	    soft_start_rot = 0;
		            comparision_mode = 1;
		            is_slewing = 0;
		        }
		    } else {
		        // NIE JESTEŚMY U CELU -> KRĘCIMY KOPUŁĄ
		        if (start_automation) {
		            if (pwm_value_1 > 0) {
		               // Klapa się rusza - całkowita blokada obrotu! Czekamy.
		            } else {
		                is_slewing = 1; // Flaga dla ASCOM (jedziemy)

		                if (comparision_mode) {

		                    uint8_t target_left = 0;
		                    uint8_t target_right = 0;

		                	if(force_homing) {
		                		// TRYB SZUKANIA ZERA:
								// Omijamy wyliczanie delty z enkoderów. Wymuszamy kręcenie w jednym
								// kierunku aż fizyczny czujnik 'is_home' przerwie ten proces w innej części kodu.
								target_right = 1; // Kopuła jedzie w prawo by znaleźć krańcówkę
								target_left = 0;
		                	} else {
			                    float delta = target_angle - angle_to_display;

			                    if (delta > 1800.0) delta -= 3600.0;
			                    else if (delta < -1800.0) delta += 3600.0;

			                    target_left = (delta < 0.0) ? 1 : 0;
								target_right = (delta > 0.0) ? 1 : 0;
		                	}

		                    if ((target_left && ride_right_flag) || (target_right && ride_left_flag)) {
		                        if (pwm_value_2 > 0) {
		                            soft_stop_func_alternate(&pwm_value_2, 1, &tick_stop_1);
		                        } else {
		        		        	dont_ride_rot(); // <--- ZMIANA! Teraz gasi tylko silnik rotacji
		                            __HAL_TIM_SET_COMPARE(&htim2, TIM_CHANNEL_3, 42);
		                            ride_left_flag = target_left;
		                            ride_right_flag = target_right;
		                    	    soft_start_rot = 0;
		                            comparision_mode = 0;
		                        }
		                    } else {
		                        ride_left_flag = target_left;
		                        ride_right_flag = target_right;
		                        comparision_mode = 0;
		                    }
		                }

		                if (!comparision_mode) {
		                    if (ride_left_flag && !soft_start_rot) { ride_left(); soft_start_rot = 1; }
		                    else if (ride_right_flag && !soft_start_rot) { ride_right(); soft_start_rot = 1; }

		                    if (soft_start_rot) {
		                        soft_start_func(&pwm_value_2, 1, &tick_start_1);
		                        if (pwm_value_2 == 65) soft_start_rot = 0;
		                    }
		                }
		            }
		        }
		    }

		    // --- 5. SEKWENCJA PRACY SZCZELINY (Silnik 1) ---
		    uint8_t is_at_home = (angle_to_display == angle_Home && is_calibrated);

		    if (is_at_home && pwm_value_2 == 0) {
		        // PROCEDURA ZAMYKANIA KLAPY
		        if (current_shutter_state == 3) {
		            if (!ride_close_flag) {
		                ride_close();
		                ride_close_flag = 1;
		                ride_open_flag = 0;
		                soft_start_shutter = 1;
		            }

		            if (soft_start_shutter) {
		                soft_start_func(&pwm_value_1, 0, &tick_start_1);
		                if (pwm_value_1 == 65) soft_start_shutter = 0;
		            }

		            if (tof_distance_mm <= 50.0) {
		                if (pwm_value_1 > 0) {
		                    soft_stop_func_alternate(&pwm_value_1, 0, &tick_stop_1);
		                } else {
		                	dont_ride_shutter(); // <--- ZMIANA!
		                    __HAL_TIM_SET_COMPARE(&htim2, TIM_CHANNEL_2, 42);
		                    ride_close_flag = 0;
		                    current_shutter_state = 1; // Zamknięto
		                    raindrop_signal = 0;
		                }
		            }
		        }

		        // PROCEDURA OTWIERANIA KLAPY
		        else if (current_shutter_state == 2) {
		            if (!ride_open_flag) {
		                ride_open();
		                ride_open_flag = 1;
		                ride_close_flag = 0;
		                soft_start_shutter = 1;
		            }

		            if (soft_start_shutter) {
		                soft_start_func(&pwm_value_1, 0, &tick_start_1);
		                if (pwm_value_1 == 65) soft_start_shutter = 0;
		            }

		            if (tof_distance_mm >= 200.0) {
		                if (pwm_value_1 > 0) {
		                    soft_stop_func_alternate(&pwm_value_1, 0, &tick_stop_1);
		                } else {
		                	dont_ride_shutter(); // <--- ZMIANA!
		                    __HAL_TIM_SET_COMPARE(&htim2, TIM_CHANNEL_2, 42);
		                    ride_open_flag = 0;
		                    current_shutter_state = 0; // Otwarto
		                }
		            }
		        }
		    }

	} else if (!page_manual && !page_auto) {
		// --- 1. RESET PODSTAWOWY ---
		    timer_reset = 0;
		    rain_string = 0;
		    label_is_home = 0;

		    // --- 2. RESET MASZYNY STANÓW AUTO ---
		    start_automation = 0;
		    automation_active = 0;
		    comparision_mode = 1;
		    nextion_off = 0;
		    rain_alert = 0;
		    raindrop_signal = 0;
		    rain_state = RAIN_STATE_NONE;
		    auto_delay_tick = HAL_GetTick();

		    ride_open_flag = 0;
		    ride_close_flag = 0;
		    ride_left_flag = 0;
		    ride_right_flag = 0;

		    // --- 3. MIĘKKIE ZATRZYMANIE (Przy wychodzeniu z trybów) ---
		    if(pwm_value_1 > 0 || pwm_value_2 > 0) {
		        soft_stop_func(&pwm_value_1, &pwm_value_2, &tick_stop_1);
		    } else {
		        dont_ride();
		        soft_stop = 0;
		        soft_start_rot = 0;
		        soft_start_shutter = 0;
		        pwm_run_1 = 0;
		        pwm_run_2 = 0;

		        CurrentDir = DIR_NONE;
		        open = 0; close = 0; left = 0; right = 0;

		        if(!reset_pwm) {
		            HAL_TIM_PWM_Stop(&htim2, TIM_CHANNEL_2);
		            HAL_TIM_PWM_Stop(&htim2, TIM_CHANNEL_3);
		            MX_TIM2_Init();
		            HAL_TIM_PWM_Start(&htim2, TIM_CHANNEL_2);
		            HAL_TIM_PWM_Start(&htim2, TIM_CHANNEL_3);
		            reset_pwm = 1;
		        }
		    }
	}
	//pwm_signal_1 = __HAL_TIM_SET_COMPARE(&htim2, TIM_CHANNEL_2, pwm_value_1);
	//pwm_signal_2 = __HAL_TIM_SET_COMPARE(&htim2, TIM_CHANNEL_3, pwm_value_2);

	// filtr cyfrowy 1 rzędu

	// skalowanie pradu - wzór funkcji liniowej

	filtered_value_0 = get_current_offset(current_engine_value[0], filtered_value_0);
	filtered_value_1 = get_current_offset(current_engine_value[1], filtered_value_1);

	amps_0 = get_amps(filtered_value_0);
	amps_1 = get_amps(filtered_value_1);

	amps_to_display_0 = (int16_t)(amps_0*100);
	amps_to_display_1 = (int16_t)(amps_1*100);

	amp_waveform = (uint8_t)(255.0/42.0)*amps_0 + 22.0*(255.0/42.0);
	amp_waveform_1 = (uint8_t)(255.0/42.0)*amps_1 + 22.0*(255.0/42.0);

	if(waveform_enable) {

		static uint8_t waveform_queue = 0;

		//rain_string = 0;

		if(huart1.gState == HAL_UART_STATE_READY) {
			if(HAL_GetTick() - wave_delay_time_0 > 15) {
				wave_delay_time_0 = HAL_GetTick();

				switch(waveform_queue) {
					case 0:
						Nextion_Waveform(amp_waveform, amp_waveform_1);
						waveform_queue++;
					break;

					case 1:
						Nextion_SendString_Current(amps_to_display_0, amps_to_display_1);
						waveform_queue = 0;
					break;
				}

			}
		}
	}

  }
  /* USER CODE END 3 */
}

void SystemClock_Config(void)
{
  RCC_OscInitTypeDef RCC_OscInitStruct = {0};
  RCC_ClkInitTypeDef RCC_ClkInitStruct = {0};

  /** Configure the main internal regulator output voltage
  */
  __HAL_RCC_PWR_CLK_ENABLE();
  __HAL_PWR_VOLTAGESCALING_CONFIG(PWR_REGULATOR_VOLTAGE_SCALE2);

  /** Initializes the RCC Oscillators according to the specified parameters
  * in the RCC_OscInitTypeDef structure.
  */
  RCC_OscInitStruct.OscillatorType = RCC_OSCILLATORTYPE_HSI;
  RCC_OscInitStruct.HSIState = RCC_HSI_ON;
  RCC_OscInitStruct.HSICalibrationValue = RCC_HSICALIBRATION_DEFAULT;
  RCC_OscInitStruct.PLL.PLLState = RCC_PLL_ON;
  RCC_OscInitStruct.PLL.PLLSource = RCC_PLLSOURCE_HSI;
  RCC_OscInitStruct.PLL.PLLM = 16;
  RCC_OscInitStruct.PLL.PLLN = 336;
  RCC_OscInitStruct.PLL.PLLP = RCC_PLLP_DIV4;
  RCC_OscInitStruct.PLL.PLLQ = 7;
  if (HAL_RCC_OscConfig(&RCC_OscInitStruct) != HAL_OK)
  {
    Error_Handler();
  }

  /** Initializes the CPU, AHB and APB buses clocks
  */
  RCC_ClkInitStruct.ClockType = RCC_CLOCKTYPE_HCLK|RCC_CLOCKTYPE_SYSCLK
                              |RCC_CLOCKTYPE_PCLK1|RCC_CLOCKTYPE_PCLK2;
  RCC_ClkInitStruct.SYSCLKSource = RCC_SYSCLKSOURCE_PLLCLK;
  RCC_ClkInitStruct.AHBCLKDivider = RCC_SYSCLK_DIV1;
  RCC_ClkInitStruct.APB1CLKDivider = RCC_HCLK_DIV2;
  RCC_ClkInitStruct.APB2CLKDivider = RCC_HCLK_DIV1;

  if (HAL_RCC_ClockConfig(&RCC_ClkInitStruct, FLASH_LATENCY_2) != HAL_OK)
  {
    Error_Handler();
  }
}

/* USER CODE BEGIN 4 */
void HAL_UART_RxCpltCallback(UART_HandleTypeDef *huart)
{
	if(huart->Instance == USART1) {

		if(Rx_Data[1] == 0x00 && Rx_Data[2] == 0x04)
			page_manual = 1;
		else if(Rx_Data[1] == 0x00 && Rx_Data[2] == 0x03)
			page_auto = 1;
		else if(Rx_Data[1] == 0x01 && Rx_Data[2] == 0x0E)
			page_manual = 0;
		else if(Rx_Data[1] == 0x03 && Rx_Data[2] == 0x04)
			page_auto = 0;
		else if(Rx_Data[1] == 0x01 && Rx_Data[2] == 0x0D)
			waveform_enable = 1;
		else if(Rx_Data[1] == 0x03 && Rx_Data[2] == 0x08)
			waveform_enable = 1;
		else if(Rx_Data[1] == 0x02 && Rx_Data[2] == 0x03)
			waveform_enable = 0;
		else if(Rx_Data[1] == 0x01 && Rx_Data[2] == 0x03)
			open = 1;
		else if(Rx_Data[1] == 0x01 && Rx_Data[2] == 0x04)
			close = 1;
		else if(Rx_Data[1] == 0x01 && Rx_Data[2] == 0x05)
			left = 1;
		else if(Rx_Data[1] == 0x01 && Rx_Data[2] == 0x06)
			right = 1;

		HAL_UART_Receive_IT(&huart1, Rx_Data, 4);
	}

	/*if(huart->Instance == USART2) {
			if(ASCOM_Byte == '\n') {
				// Znak końca - parsujemy!
				ASCOM_Data[ASCOM_Index] = '\0'; // ZAWSZE zamykaj string znakiem NULL przed użyciem atof!
				angle_conversion_flag = 1;
			}
	        else if (ASCOM_Byte != '\r') {
				// Zabezpieczenie przed przepełnieniem bufora
				if (ASCOM_Index < (ASCOM_Buffer - 1)) {
					ASCOM_Data[ASCOM_Index++] = ASCOM_Byte;
				}
	            // Jeśli przyszło więcej znaków niż rozmiar bufora, po prostu je ignorujemy
	            // aż do momentu nadejścia '\n'
			}

			HAL_UART_Receive_IT(&huart2, &ASCOM_Byte, 1);
	} */

	if(huart->Instance == USART2) {

		for(int i = 0; i < 7; i++)
		{
			ASCOM_rx_buffer[i] = ASCOM_rx_buffer[i+1];
		}

		ASCOM_rx_buffer[7] = ASCOM_Byte;

		if(ASCOM_rx_buffer[0] == 0x3A && ASCOM_rx_buffer[7] == 0x24)
		{
			ASCOM_frame_ready = 1; // flaga to przetworzenia danych
		}

		//ASCOM_frame_ready = 1;

		HAL_UART_Receive_IT(&huart2, &ASCOM_Byte, 1);
	}
}

void HAL_GPIO_EXTI_Callback(uint16_t GPIO_Pin)
{
	static uint32_t last_interrupt_time = 0;

	uint32_t current_time = HAL_GetTick();

	if(GPIO_Pin == RAINDROP_Pin) {

		if(current_time - last_interrupt_time > 300) {

			raindrop_signal = 1;
			nextion_rain_on = 1;

			last_interrupt_time = current_time;
		}
	}

	if(GPIO_Pin == HOME_Position_Pin) {

		static uint32_t last_tick = 0;
		uint32_t current_tick = HAL_GetTick();

		if(current_tick - last_tick > 150) {
			is_home = 1;
		}

		last_tick = current_tick;
	}
}
/* USER CODE END 4 */

void Error_Handler(void)
{
  __disable_irq();
  while (1)
  {
  }
}
